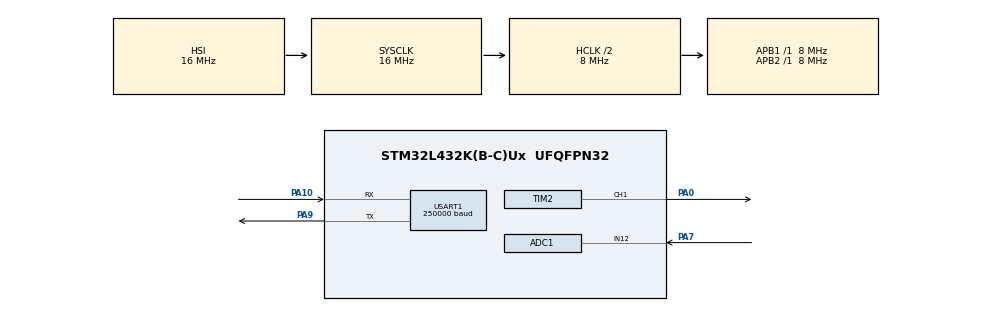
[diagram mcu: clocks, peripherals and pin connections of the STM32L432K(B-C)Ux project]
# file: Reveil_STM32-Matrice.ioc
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ADC1.Channel-0\#ChannelRegularConversion=ADC_CHANNEL_12
ADC1.ContinuousConvMode=DISABLE
ADC1.NbrOfConversion=1
ADC1.NbrOfConversionFlag=1
ADC1.OffsetNumber-0\#ChannelRegularConversion=ADC_OFFSET_NONE
ADC1.Rank-0\#ChannelRegularConversion=1
ADC1.SamplingTime-0\#ChannelRegularConversion=ADC_SAMPLETIME_2CYCLES_5
ADC1.master=1
Dma.ADC1.1.Direction=DMA_PERIPH_TO_MEMORY
Dma.ADC1.1.Instance=DMA1_Channel1
Dma.ADC1.1.MemDataAlignment=DMA_MDATAALIGN_HALFWORD
Dma.ADC1.1.MemInc=DMA_MINC_ENABLE
Dma.ADC1.1.Mode=DMA_CIRCULAR
Dma.ADC1.1.PeriphDataAlignment=DMA_PDATAALIGN_HALFWORD
Dma.ADC1.1.PeriphInc=DMA_PINC_DISABLE
Dma.ADC1.1.Priority=DMA_PRIORITY_HIGH
Dma.Request0=TIM2_CH1
Dma.Request1=ADC1
Dma.Request2=USART1_TX
Dma.Request3=USART1_RX
Dma.TIM2_CH1.0.Direction=DMA_MEMORY_TO_PERIPH
Dma.TIM2_CH1.0.Instance=DMA1_Channel5
Dma.TIM2_CH1.0.MemDataAlignment=DMA_MDATAALIGN_BYTE
Dma.TIM2_CH1.0.MemInc=DMA_MINC_ENABLE
Dma.TIM2_CH1.0.Mode=DMA_CIRCULAR
Dma.TIM2_CH1.0.PeriphDataAlignment=DMA_PDATAALIGN_WORD
Dma.TIM2_CH1.0.PeriphInc=DMA_PINC_DISABLE
Dma.TIM2_CH1.0.Priority=DMA_PRIORITY_HIGH
Dma.USART1_RX.3.Direction=DMA_PERIPH_TO_MEMORY
Dma.USART1_RX.3.Instance=DMA2_Channel7
Dma.USART1_RX.3.MemDataAlignment=DMA_MDATAALIGN_BYTE
Dma.USART1_RX.3.MemInc=DMA_MINC_ENABLE
Dma.USART1_RX.3.Mode=DMA_NORMAL
Dma.USART1_RX.3.PeriphDataAlignment=DMA_PDATAALIGN_BYTE
Dma.USART1_RX.3.PeriphInc=DMA_PINC_DISABLE
Dma.USART1_RX.3.Priority=DMA_PRIORITY_MEDIUM
Dma.USART1_TX.2.Direction=DMA_MEMORY_TO_PERIPH
Dma.USART1_TX.2.Instance=DMA1_Channel4
Dma.USART1_TX.2.MemDataAlignment=DMA_MDATAALIGN_BYTE
Dma.USART1_TX.2.MemInc=DMA_MINC_ENABLE
Dma.USART1_TX.2.Mode=DMA_NORMAL
Dma.USART1_TX.2.PeriphDataAlignment=DMA_PDATAALIGN_BYTE
Dma.USART1_TX.2.PeriphInc=DMA_PINC_DISABLE
Dma.USART1_TX.2.Priority=DMA_PRIORITY_LOW
Mcu.Family=STM32L4
Mcu.Name=STM32L432K(B-C)Ux
Mcu.Package=UFQFPN32
NVIC.DMA1_Channel1_IRQn=true\:0\:0\:false\:false\:true\:false\:true\:true
NVIC.DMA1_Channel4_IRQn=true\:0\:0\:false\:false\:true\:false\:true\:true
NVIC.DMA1_Channel5_IRQn=true\:0\:0\:false\:false\:true\:false\:true\:true
NVIC.DMA2_Channel7_IRQn=true\:0\:0\:false\:false\:true\:false\:true\:true
NVIC.PriorityGroup=NVIC_PRIORITYGROUP_4
NVIC.USART1_IRQn=true\:0\:0\:false\:false\:true\:true\:true\:true
PA0.Signal=S_TIM2_CH1
PA10.Mode=Asynchronous
PA10.Signal=USART1_RX
PA13\ (JTMS-SWDIO).Mode=Serial_Wire
PA13\ (JTMS-SWDIO).Signal=SYS_JTMS-SWDIO
PA14\ (JTCK-SWCLK).Mode=Serial_Wire
PA14\ (JTCK-SWCLK).Signal=SYS_JTCK-SWCLK
PA7.Signal=ADCx_IN12
PA9.Mode=Asynchronous
PA9.Signal=USART1_TX
PC14-OSC32_IN\ (PC14).GPIO_Label=MCO
PC14-OSC32_IN\ (PC14).Mode=LSE-External-Clock-Source
PC14-OSC32_IN\ (PC14).Signal=RCC_OSC32_IN
ProjectManager.HeapSize=0x200
ProjectManager.StackSize=0x400
ProjectManager.TargetToolchain=STM32CubeIDE
RCC.ADCCLockSelection=RCC_ADCCLKSOURCE_SYSCLK
RCC.ADCFreq_Value=16000000
RCC.AHBCLKDivider=RCC_SYSCLK_DIV2
RCC.AHBFreq_Value=8000000
RCC.APB1Freq_Value=8000000
RCC.APB1TimFreq_Value=8000000
RCC.APB2Freq_Value=8000000
RCC.APB2TimFreq_Value=8000000
RCC.CortexFreq_Value=8000000
RCC.HCLKFreq_Value=8000000
RCC.HSE_VALUE=8000000
RCC.HSI48_VALUE=48000000
RCC.HSI_VALUE=16000000
RCC.LSE_VALUE=8000
RCC.MSICalibrationValue=0
RCC.MSIClockRange=RCC_MSIRANGE_7
RCC.MSI_VALUE=8000000
RCC.PLLSourceVirtual=RCC_PLLSOURCE_HSI
RCC.PREFETCH_ENABLE=0
RCC.SYSCLKFreq_VALUE=16000000
RCC.SYSCLKSource=RCC_SYSCLKSOURCE_HSI
RCC.USBFreq_Value=64000000
RCC.VCOOutputFreq_Value=128000000
SH.ADCx_IN12.0=ADC1_IN12,IN12-Single-Ended
SH.S_TIM2_CH1.0=TIM2_CH1,PWM Generation1 CH1
TIM2.Channel-PWM\ Generation1\ CH1=TIM_CHANNEL_1
TIM2.Period=10-1
USART1.BaudRate=250000
USART1.VirtualMode-Asynchronous=VM_ASYNC
VP_TIM2_VS_ClockSourceINT.Mode=Internal
board=custom

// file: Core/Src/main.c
/* USER CODE BEGIN Header */
/**
  ******************************************************************************
  * @file           : main.c
  * @brief          : Main program body
  ******************************************************************************
  * @attention
  *
  * Copyright (c) 2023 STMicroelectronics.
  * All rights reserved.
  *
  * This software is licensed under terms that can be found in the LICENSE file
  * in the root directory of this software component.
  * If no LICENSE file comes with this software, it is provided AS-IS.
  *
  ******************************************************************************
  */
/* USER CODE END Header */
#include "main.h"

/* USER CODE BEGIN Includes */
#include "ws2812.h"
/* USER CODE END Includes */

ADC_HandleTypeDef hadc1;
DMA_HandleTypeDef hdma_adc1;

TIM_HandleTypeDef htim2;
DMA_HandleTypeDef hdma_tim2_ch1;

UART_HandleTypeDef huart1;
DMA_HandleTypeDef hdma_usart1_tx;
DMA_HandleTypeDef hdma_usart1_rx;

void SystemClock_Config(void);
static void MX_GPIO_Init(void);
static void MX_DMA_Init(void);
static void MX_ADC1_Init(void);
static void MX_TIM2_Init(void);
static void MX_USART1_UART_Init(void);

/* USER CODE BEGIN 0 */

uint8_t angle = 0;
static uint8_t Heures_brt = 0;
static uint8_t Heures_U = 4;
static uint8_t Heures_D = 0;
static uint8_t Minutes_brt = 0;
static uint8_t Minutes_U = 7;
static uint8_t Minutes_D = 2;
uint8_t Cli = 0;

uint8_t interrupteur1_OLD = 0;
uint8_t interrupteur2_OLD = 0;
uint8_t interrupteur3_OLD = 0;
uint8_t interrupteur4_OLD = 0;

static uint8_t Rx_data[19];
uint16_t testData = 0;
uint8_t Alarm = 0;

uint16_t ui16_step = 0;
uint16_t ui16_loop = 0;

uint8_t ui8_Rx_2 = 0;
uint8_t ui8_Rx_3 = 0;
uint8_t ui8_Rx_11 = 0;
uint8_t ui8_Rx_12 = 0;

uint16_t ReadADC = 0;

/* USER CODE END 0 */

int main(void)
{

  /* MCU Configuration--------------------------------------------------------*/

  /* Reset of all peripherals, Initializes the Flash interface and the Systick. */
  HAL_Init();

  /* Configure the system clock */
  SystemClock_Config();

  /* Initialize all configured peripherals */
  MX_GPIO_Init();
  MX_DMA_Init();
  MX_ADC1_Init();
  MX_TIM2_Init();
  MX_USART1_UART_Init();
  /* USER CODE BEGIN 2 */

  ws2812_start();
  HAL_UART_Receive_IT(&huart1, Rx_data, 19);

	uint8_t H =0;
	uint16_t ui16_FctLum=255;
	ImageData* pacManSprite;
	IndexedImageData* IndexedSprite;
	// Déclarez une instance de Canvas
	Canvas myCanvas;
	// Initialisez la structure Canvas
	myCanvas.numCols = NUM_COLS;
	myCanvas.numRows = NUM_ROWS;
	// Allouez de la mémoire pour les pixels
	myCanvas.pixels = malloc(sizeof(Pixel) * NUM_COLS * NUM_ROWS);
	// Utilisez memset pour initialiser le tableau à zéro
	memset(myCanvas.pixels, 0, sizeof(Pixel) * NUM_COLS * NUM_ROWS);
	// Vous pouvez maintenant utiliser myCanvas et les pixels initialisé

  /* USER CODE END 2 */

  /* Infinite loop */
  while (1)
  {

    /* USER CODE BEGIN 3 */
	  /* start ADC */
	  HAL_ADC_Start(&hadc1);
	  ReadADC = HAL_ADC_GetValue(&hadc1);

	  // activation alarme
	  if (Alarm){
		  IndexedSprite = &NotPickleRickIndexed;
		  drawIndexedImage(IndexedSprite, (ui16_loop/2)%98, 1, 1, &myCanvas);
	  }

	  else{
		  // Contrôle luminosité et background
		  ui16_FctLum = ReadADC/20 + 50;
	  	  setCanvasColor(&myCanvas, (Pixel){51*ui16_FctLum/255, 0*ui16_FctLum/255, 77*ui16_FctLum/255});

/*			// effet arc en ciel
		  for(uint8_t diag=1; diag<=23; diag++){
					  colorDiagonal(&myCanvas, HSVtoPixel((H + (diag* 255 / 23))%255 , MAX_LUX), diag);
			  }
		  if (H >= 255) H=0;
				  else  H++;
		  */

	  	  // display temps en BCD
	  	  displayBCD(&myCanvas, 1, 4, Heures_D, 4, ui16_FctLum);
		  displayBCD(&myCanvas, 1, 3, Heures_D, 4, ui16_FctLum);
		  displayBCD(&myCanvas, 1, 2, Heures_D, 4, ui16_FctLum);

		  displayBCD(&myCanvas, 6, 4, Heures_U, 4, ui16_FctLum);
		  displayBCD(&myCanvas, 6, 3, Heures_U, 4, ui16_FctLum);
		  displayBCD(&myCanvas, 6, 2, Heures_U, 4, ui16_FctLum);

		  displayBCD(&myCanvas, 11, 4, Minutes_D, 4, ui16_FctLum);
		  displayBCD(&myCanvas, 11, 3, Minutes_D, 4, ui16_FctLum);
		  displayBCD(&myCanvas, 11, 2, Minutes_D, 4, ui16_FctLum);

		  displayBCD(&myCanvas, 16, 4, Minutes_U, 4, ui16_FctLum);
		  displayBCD(&myCanvas, 16, 3, Minutes_U, 4, ui16_FctLum);
		  displayBCD(&myCanvas, 16, 2, Minutes_U, 4, ui16_FctLum);

		  // test de réception UART
		  // displayBCD(&myCanvas, 1, 3, ui8_Rx_2, 8, ui16_FctLum);
		  // displayBCD(&myCanvas, 10, 3, ui8_Rx_3, 8, ui16_FctLum);

		  // displayBCD(&myCanvas, 6, 4, ui8_Rx_11, 8, ui16_FctLum);
		  // displayBCD(&myCanvas, 6, 1, ui8_Rx_12, 8, ui16_FctLum);

		  // displayBCD(&myCanvas, 2, 3, ReadADC, 16, ui16_FctLum);

		  	  //animation Bad Apple
		  IndexedSprite = &BadApple_2bit_7dot5fps;
		  drawIndexedImage(IndexedSprite, (ui16_loop/5), 1, 1, &myCanvas);
	  }

	  // Contrôle vitesse animation
	  if (ui16_loop <= IndexedSprite->FrameAmount *5)	ui16_loop++;
	  else ui16_loop = 0;

	  sendCanvas(&myCanvas);
  }
  /* USER CODE END 3 */
}

void SystemClock_Config(void)
{
  RCC_OscInitTypeDef RCC_OscInitStruct = {0};
  RCC_ClkInitTypeDef RCC_ClkInitStruct = {0};

  /** Configure the main internal regulator output voltage
  */
  if (HAL_PWREx_ControlVoltageScaling(PWR_REGULATOR_VOLTAGE_SCALE1) != HAL_OK)
  {
    Error_Handler();
  }

  /** Initializes the RCC Oscillators according to the specified parameters
  * in the RCC_OscInitTypeDef structure.
  */
  RCC_OscInitStruct.OscillatorType = RCC_OSCILLATORTYPE_HSI;
  RCC_OscInitStruct.HSIState = RCC_HSI_ON;
  RCC_OscInitStruct.HSICalibrationValue = RCC_HSICALIBRATION_DEFAULT;
  RCC_OscInitStruct.PLL.PLLState = RCC_PLL_NONE;
  if (HAL_RCC_OscConfig(&RCC_OscInitStruct) != HAL_OK)
  {
    Error_Handler();
  }

  /** Initializes the CPU, AHB and APB buses clocks
  */
  RCC_ClkInitStruct.ClockType = RCC_CLOCKTYPE_HCLK|RCC_CLOCKTYPE_SYSCLK
                              |RCC_CLOCKTYPE_PCLK1|RCC_CLOCKTYPE_PCLK2;
  RCC_ClkInitStruct.SYSCLKSource = RCC_SYSCLKSOURCE_HSI;
  RCC_ClkInitStruct.AHBCLKDivider = RCC_SYSCLK_DIV2;
  RCC_ClkInitStruct.APB1CLKDivider = RCC_HCLK_DIV1;
  RCC_ClkInitStruct.APB2CLKDivider = RCC_HCLK_DIV1;

  if (HAL_RCC_ClockConfig(&RCC_ClkInitStruct, FLASH_LATENCY_0) != HAL_OK)
  {
    Error_Handler();
  }
}

static void MX_ADC1_Init(void)
{

  ADC_ChannelConfTypeDef sConfig = {0};

  /** Common config
  */
  hadc1.Instance = ADC1;
  hadc1.Init.ClockPrescaler = ADC_CLOCK_ASYNC_DIV1;
  hadc1.Init.Resolution = ADC_RESOLUTION_12B;
  hadc1.Init.DataAlign = ADC_DATAALIGN_RIGHT;
  hadc1.Init.ScanConvMode = ADC_SCAN_DISABLE;
  hadc1.Init.EOCSelection = ADC_EOC_SINGLE_CONV;
  hadc1.Init.LowPowerAutoWait = DISABLE;
  hadc1.Init.ContinuousConvMode = DISABLE;
  hadc1.Init.NbrOfConversion = 1;
  hadc1.Init.DiscontinuousConvMode = DISABLE;
  hadc1.Init.ExternalTrigConv = ADC_SOFTWARE_START;
  hadc1.Init.ExternalTrigConvEdge = ADC_EXTERNALTRIGCONVEDGE_NONE;
  hadc1.Init.DMAContinuousRequests = DISABLE;
  hadc1.Init.Overrun = ADC_OVR_DATA_PRESERVED;
  hadc1.Init.OversamplingMode = DISABLE;
  if (HAL_ADC_Init(&hadc1) != HAL_OK)
  {
    Error_Handler();
  }

  /** Configure Regular Channel
  */
  sConfig.Channel = ADC_CHANNEL_12;
  sConfig.Rank = ADC_REGULAR_RANK_1;
  sConfig.SamplingTime = ADC_SAMPLETIME_2CYCLES_5;
  sConfig.SingleDiff = ADC_SINGLE_ENDED;
  sConfig.OffsetNumber = ADC_OFFSET_NONE;
  sConfig.Offset = 0;
  if (HAL_ADC_ConfigChannel(&hadc1, &sConfig) != HAL_OK)
  {
    Error_Handler();
  }

}

static void MX_TIM2_Init(void)
{

  TIM_ClockConfigTypeDef sClockSourceConfig = {0};
  TIM_MasterConfigTypeDef sMasterConfig = {0};
  TIM_OC_InitTypeDef sConfigOC = {0};

  htim2.Instance = TIM2;
  htim2.Init.Prescaler = 0;
  htim2.Init.CounterMode = TIM_COUNTERMODE_UP;
  htim2.Init.Period = 10-1;
  htim2.Init.ClockDivision = TIM_CLOCKDIVISION_DIV1;
  htim2.Init.AutoReloadPreload = TIM_AUTORELOAD_PRELOAD_DISABLE;
  if (HAL_TIM_Base_Init(&htim2) != HAL_OK)
  {
    Error_Handler();
  }
  sClockSourceConfig.ClockSource = TIM_CLOCKSOURCE_INTERNAL;
  if (HAL_TIM_ConfigClockSource(&htim2, &sClockSourceConfig) != HAL_OK)
  {
    Error_Handler();
  }
  if (HAL_TIM_PWM_Init(&htim2) != HAL_OK)
  {
    Error_Handler();
  }
  sMasterConfig.MasterOutputTrigger = TIM_TRGO_RESET;
  sMasterConfig.MasterSlaveMode = TIM_MASTERSLAVEMODE_DISABLE;
  if (HAL_TIMEx_MasterConfigSynchronization(&htim2, &sMasterConfig) != HAL_OK)
  {
    Error_Handler();
  }
  sConfigOC.OCMode = TIM_OCMODE_PWM1;
  sConfigOC.Pulse = 0;
  sConfigOC.OCPolarity = TIM_OCPOLARITY_HIGH;
  sConfigOC.OCFastMode = TIM_OCFAST_DISABLE;
  if (HAL_TIM_PWM_ConfigChannel(&htim2, &sConfigOC, TIM_CHANNEL_1) != HAL_OK)
  {
    Error_Handler();
  }
  HAL_TIM_MspPostInit(&htim2);

}

static void MX_USART1_UART_Init(void)
{

  huart1.Instance = USART1;
  huart1.Init.BaudRate = 250000;
  huart1.Init.WordLength = UART_WORDLENGTH_8B;
  huart1.Init.StopBits = UART_STOPBITS_1;
  huart1.Init.Parity = UART_PARITY_NONE;
  huart1.Init.Mode = UART_MODE_TX_RX;
  huart1.Init.HwFlowCtl = UART_HWCONTROL_NONE;
  huart1.Init.OverSampling = UART_OVERSAMPLING_16;
  huart1.Init.OneBitSampling = UART_ONE_BIT_SAMPLE_DISABLE;
  huart1.AdvancedInit.AdvFeatureInit = UART_ADVFEATURE_NO_INIT;
  if (HAL_UART_Init(&huart1) != HAL_OK)
  {
    Error_Handler();
  }

}

static void MX_DMA_Init(void)
{

  /* DMA controller clock enable */
  __HAL_RCC_DMA1_CLK_ENABLE();
  __HAL_RCC_DMA2_CLK_ENABLE();

  /* DMA interrupt init */
  /* DMA1_Channel1_IRQn interrupt configuration */
  HAL_NVIC_SetPriority(DMA1_Channel1_IRQn, 0, 0);
  HAL_NVIC_EnableIRQ(DMA1_Channel1_IRQn);
  /* DMA1_Channel4_IRQn interrupt configuration */
  HAL_NVIC_SetPriority(DMA1_Channel4_IRQn, 0, 0);
  HAL_NVIC_EnableIRQ(DMA1_Channel4_IRQn);
  /* DMA1_Channel5_IRQn interrupt configuration */
  HAL_NVIC_SetPriority(DMA1_Channel5_IRQn, 0, 0);
  HAL_NVIC_EnableIRQ(DMA1_Channel5_IRQn);
  /* DMA2_Channel7_IRQn interrupt configuration */
  HAL_NVIC_SetPriority(DMA2_Channel7_IRQn, 0, 0);
  HAL_NVIC_EnableIRQ(DMA2_Channel7_IRQn);

}

static void MX_GPIO_Init(void)
{

  /* GPIO Ports Clock Enable */
  __HAL_RCC_GPIOC_CLK_ENABLE();
  __HAL_RCC_GPIOA_CLK_ENABLE();

}

/* USER CODE BEGIN 4 */

/******************************************************************************
* Fonction 	HAL_UART_RxCpltCallback											  *
*		Prototype	:void HAL_UART_RxCpltCallback (UART_HandleTypeDef * huart)*
*																		 	  *
*   Description des paramètres:												  *
*			UART qu'on utilise												  *
*																			  *
*		Inclus :	main.c													  *
*																			  *
*	  Description															  *
* Interruption qui va mettre dans des variables la réception UART comme le	  *
* temps										 								  *
******************************************************************************/

void HAL_UART_RxCpltCallback (UART_HandleTypeDef * huart)
{

	if(&huart1 == huart)
	{
		testData = Rx_data[3];		//Stock data fonction
		Heures_brt = Rx_data[4];	//Stock le data des heures, "brt" = brute
		Minutes_brt = Rx_data[5];	//Stock le data des minutes

		ui8_Rx_2 = Rx_data[2];
		ui8_Rx_3 = Rx_data[3];
		ui8_Rx_11 = Rx_data[11];
		ui8_Rx_12 = Rx_data[12];

		Alarm = (testData >> 3) &0x01;		// Alarm Status

		Heures_U = Heures_brt & 0x0F;	//Traite le data pour avoir l'Unité des Heures

		Heures_D = (Heures_brt & 0xF0) >> 4;	//Traite le data pour avoir la Dizaine des Heures

		Minutes_U = Minutes_brt & 0x0F;	//Traite le data pour avoir l'Unité des Minutes

		Minutes_D = (Minutes_brt & 0xF0) >> 4;	//Traite le data pour avoir la Dizaine des Minutes

		if(HAL_UART_Receive_IT(&huart1, Rx_data, 19) == HAL_ERROR)	//Réception d'UART lors d'une erreur
		{
			HAL_UART_Receive_IT(&huart1, Rx_data, 19);
		}
	}
}

/******************************************************************************
* Fonction 	HAL_UART_ErrorCallback											  *
*		Prototype	:void HAL_UART_RxCpltCallback (UART_HandleTypeDef * huart)*
*																		 	  *
*   Description des paramètres:												  *
*			UART qu'on utilise												  *
*																			  *
*		Inclus :	main.c													  *
*																			  *
*	  Description															  *
* Interruption lorsqu'il y a un problème dans la transmission UART qui permet *
* de refaire une réception									 				  *
******************************************************************************/

void HAL_UART_ErrorCallback (UART_HandleTypeDef * huart)
{
	if(&huart1 == huart)
	{
		HAL_UART_Receive_IT(&huart1, Rx_data, 19);
	}
}

/* USER CODE END 4 */

void Error_Handler(void)
{
  __disable_irq();
  while (1)
  {
  }
}
